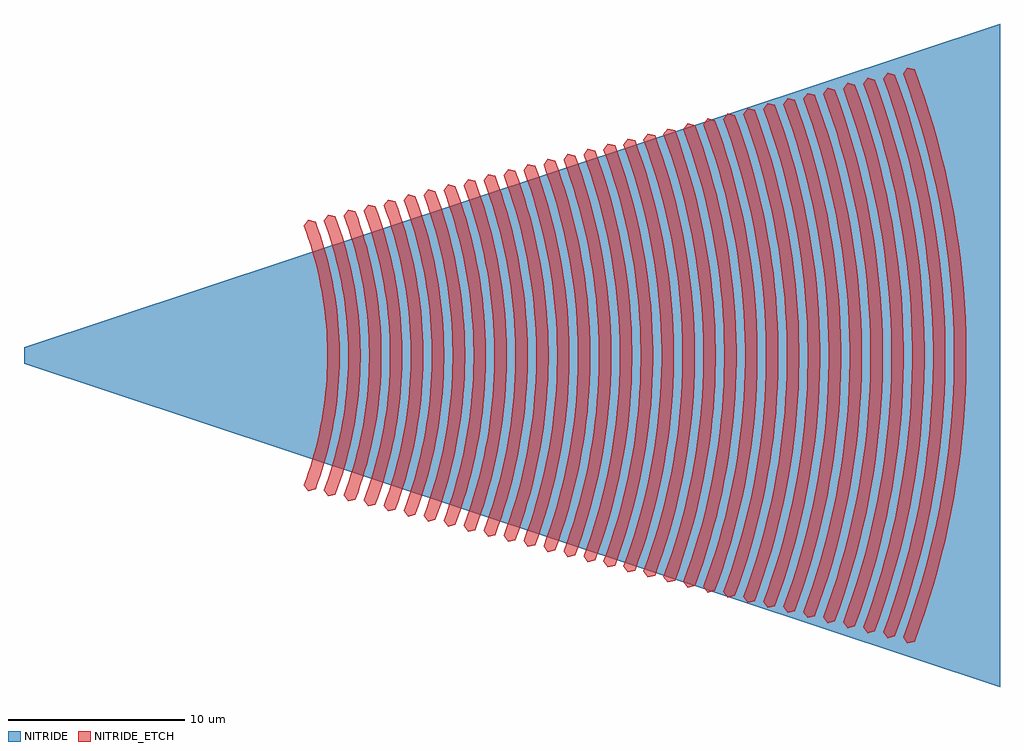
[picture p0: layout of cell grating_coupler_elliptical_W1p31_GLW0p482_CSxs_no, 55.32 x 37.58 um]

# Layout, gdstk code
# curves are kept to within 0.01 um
import gdstk
lib = gdstk.Library(unit=1e-6, precision=1e-09)
def P(c, l, *ps):  # polygons
    for p in ps: c.add(gdstk.Polygon(p, *l))
NITRIDE = (203, 0)
NITRIDE_ETCH = (204, 0)

grating_coupler_elliptic = lib.new_cell('grating_coupler_elliptical_W1p31_GLW0p482_CSxs_no')
P(grating_coupler_elliptic, NITRIDE, [(68.561,-18.792),(13.241,-0.475),(13.241,0.475),(68.561,18.792)])
P(grating_coupler_elliptic, NITRIDE_ETCH, [(29.354,-7.693),(29.104,-7.353),(29.362,-6.622),(29.696,-5.513),(29.884,-4.765),(30.045,-4.013),(30.179,-3.254),(30.327,-2.111),(30.39,-1.344),(30.432,-0.192),(30.411,0.96),(30.361,1.727),(30.235,2.874),(30.115,3.634),(29.969,4.389),(29.696,5.513),(29.362,6.622),(29.104,7.353),(29.354,7.693),(29.764,7.593),(30.15,6.462),(30.374,5.697),(30.568,4.925),(30.807,3.756),(30.982,2.576),(31.09,1.39),(31.134,0.198),(31.113,-0.992),(31.061,-1.785),(30.982,-2.576),(30.807,-3.756),(30.568,-4.925),(30.374,-5.697),(30.15,-6.462),(29.764,-7.593)],
  [(30.486,-7.98),(30.236,-7.641),(30.627,-6.499),(30.851,-5.729),(31.047,-4.953),(31.215,-4.169),(31.353,-3.382),(31.507,-2.193),(31.594,-0.998),(31.616,-0.2),(31.609,0.599),(31.543,1.795),(31.463,2.59),(31.287,3.776),(31.047,4.953),(30.851,5.729),(30.627,6.499),(30.236,7.641),(30.486,7.98),(30.896,7.879),(31.297,6.707),(31.529,5.913),(31.731,5.111),(31.979,3.898),(32.159,2.674),(32.272,1.441),(32.318,0.206),(32.296,-1.03),(32.205,-2.263),(32.047,-3.49),(31.903,-4.303),(31.731,-5.111),(31.529,-5.913),(31.297,-6.707),(30.896,-7.879)],
  [(31.619,-8.267),(31.369,-7.927),(31.646,-7.139),(32.006,-5.944),(32.209,-5.139),(32.383,-4.326),(32.527,-3.508),(32.686,-2.276),(32.755,-1.449),(32.8,-0.207),(32.777,1.036),(32.724,1.862),(32.587,3.099),(32.458,3.918),(32.3,4.732),(32.006,5.944),(31.646,7.139),(31.369,7.927),(31.619,8.267),(32.029,8.167),(32.312,7.359),(32.567,6.541),(32.893,5.297),(33.15,4.04),(33.338,2.771),(33.455,1.495),(33.502,0.213),(33.479,-1.068),(33.384,-2.346),(33.221,-3.618),(32.986,-4.88),(32.792,-5.714),(32.567,-6.541),(32.312,-7.359),(32.029,-8.167)],
  [(32.751,-8.555),(32.501,-8.216),(32.92,-6.988),(33.161,-6.16),(33.372,-5.324),(33.552,-4.483),(33.701,-3.637),(33.866,-2.358),(33.937,-1.501),(33.984,-0.215),(33.976,0.644),(33.905,1.93),(33.818,2.785),(33.63,4.06),(33.466,4.904),(33.161,6.16),(32.92,6.988),(32.501,8.216),(32.751,8.555),(33.161,8.454),(33.59,7.196),(33.839,6.344),(34.056,5.484),(34.322,4.182),(34.516,2.869),(34.637,1.547),(34.686,0.221),(34.662,-1.105),(34.564,-2.428),(34.395,-3.745),(34.152,-5.052),(33.951,-5.915),(33.718,-6.771),(33.454,-7.618),(33.161,-8.454)],
  [(33.883,-8.842),(33.633,-8.503),(34.067,-7.231),(34.316,-6.375),(34.632,-5.077),(34.802,-4.202),(34.94,-3.323),(35.046,-2.441),(35.119,-1.554),(35.168,-0.222),(35.16,0.666),(35.086,1.998),(34.94,3.323),(34.802,4.202),(34.632,5.077),(34.316,6.375),(34.067,7.231),(33.633,8.503),(33.883,8.842),(34.293,8.741),(34.596,7.877),(34.87,7.001),(35.218,5.671),(35.494,4.324),(35.694,2.966),(35.819,1.6),(35.87,0.228),(35.845,-1.143),(35.744,-2.511),(35.569,-3.872),(35.318,-5.223),(35.11,-6.116),(34.87,-7.001),(34.596,-7.877),(34.293,-8.741)],
  [(35.016,-9.13),(34.765,-8.791),(35.214,-7.477),(35.471,-6.591),(35.798,-5.248),(35.973,-4.344),(36.116,-3.436),(36.226,-2.523),(36.302,-1.607),(36.352,-0.23),(36.343,0.689),(36.268,2.065),(36.116,3.436),(35.973,4.344),(35.798,5.248),(35.471,6.591),(35.214,7.477),(34.765,8.791),(35.016,9.13),(35.425,9.029),(35.739,8.137),(36.021,7.231),(36.381,5.857),(36.665,4.466),(36.873,3.064),(37.002,1.651),(37.054,0.236),(37.028,-1.18),(36.924,-2.593),(36.743,-4),(36.484,-5.394),(36.269,-6.317),(36.021,-7.231),(35.739,-8.137),(35.425,-9.029)],
  [(36.148,-9.417),(35.897,-9.078),(36.215,-8.175),(36.627,-6.806),(36.964,-5.42),(37.145,-4.486),(37.292,-3.548),(37.406,-2.606),(37.484,-1.66),(37.536,-0.237),(37.527,0.711),(37.484,1.66),(37.406,2.606),(37.292,3.548),(37.058,4.954),(36.748,6.346),(36.36,7.721),(35.897,9.078),(36.148,9.417),(36.557,9.316),(36.881,8.395),(37.172,7.461),(37.544,6.043),(37.837,4.608),(38.05,3.161),(38.184,1.704),(38.238,0.243),(38.211,-1.218),(38.104,-2.676),(37.917,-4.126),(37.65,-5.566),(37.428,-6.518),(37.172,-7.461),(36.881,-8.395),(36.557,-9.316)],
  [(37.279,-9.704),(37.029,-9.364),(37.357,-8.434),(37.649,-7.495),(37.907,-6.547),(38.227,-5.111),(38.469,-3.661),(38.586,-2.688),(38.693,-1.223),(38.72,-0.245),(38.711,0.734),(38.666,1.712),(38.586,2.688),(38.469,3.661),(38.227,5.111),(37.907,6.547),(37.507,7.966),(37.029,9.364),(37.279,9.704),(37.689,9.604),(38.023,8.654),(38.323,7.691),(38.706,6.229),(39.008,4.75),(39.229,3.258),(39.366,1.758),(39.395,1.255),(39.422,0.251),(39.395,-1.255),(39.284,-2.758),(39.091,-4.255),(38.917,-5.245),(38.815,-5.738),(38.587,-6.719),(38.323,-7.691),(38.023,-8.654),(37.689,-9.604)],
  [(38.411,-9.992),(38.161,-9.652),(38.499,-8.693),(38.8,-7.725),(39.066,-6.748),(39.396,-5.268),(39.645,-3.773),(39.765,-2.771),(39.849,-1.764),(39.904,-0.252),(39.894,0.756),(39.849,1.764),(39.765,2.771),(39.645,3.773),(39.396,5.268),(39.066,6.748),(38.654,8.21),(38.161,9.652),(38.411,9.992),(38.821,9.892),(39.165,8.913),(39.474,7.921),(39.869,6.415),(40.18,4.893),(40.407,3.356),(40.549,1.81),(40.578,1.293),(40.606,0.258),(40.578,-1.293),(40.463,-2.841),(40.407,-3.356),(40.265,-4.382),(40.086,-5.402),(39.981,-5.909),(39.746,-6.92),(39.474,-7.921),(39.165,-8.913),(38.821,-9.892)],
  [(39.543,-10.279),(39.293,-9.939),(39.801,-8.455),(40.092,-7.453),(40.225,-6.949),(40.461,-5.934),(40.66,-4.913),(40.821,-3.885),(40.945,-2.853),(41.031,-1.817),(41.088,-0.26),(41.078,0.779),(41.031,1.817),(40.945,2.853),(40.821,3.885),(40.565,5.425),(40.225,6.949),(39.801,8.455),(39.293,9.939),(39.543,10.279),(39.953,10.179),(40.471,8.663),(40.77,7.637),(41.031,6.602),(41.255,5.559),(41.352,5.035),(41.585,3.453),(41.731,1.863),(41.761,1.33),(41.79,0.266),(41.761,-1.33),(41.643,-2.923),(41.585,-3.453),(41.439,-4.508),(41.255,-5.559),(41.147,-6.082),(40.905,-7.121),(40.625,-8.151),(40.307,-9.173),(39.953,-10.179)],
  [(40.675,-10.567),(40.425,-10.228),(40.783,-9.211),(40.947,-8.699),(41.384,-7.15),(41.627,-6.107),(41.919,-4.528),(42.066,-3.467),(42.174,-2.403),(42.242,-1.336),(42.272,-0.267),(42.262,0.801),(42.174,2.403),(42.066,3.467),(41.919,4.528),(41.627,6.107),(41.384,7.15),(40.947,8.699),(40.783,9.211),(40.425,10.228),(40.675,10.567),(41.085,10.466),(41.449,9.431),(41.776,8.381),(41.925,7.853),(42.194,6.789),(42.523,5.177),(42.764,3.551),(42.874,2.461),(42.913,1.914),(42.944,1.368),(42.974,0.273),(42.944,-1.368),(42.874,-2.461),(42.823,-3.006),(42.764,-3.551),(42.613,-4.636),(42.523,-5.177),(42.313,-6.253),(42.064,-7.322),(41.776,-8.381),(41.449,-9.431),(41.085,-10.466)],
  [(41.807,-10.854),(41.557,-10.514),(41.747,-9.991),(42.094,-8.944),(42.543,-7.351),(42.793,-6.278),(43.003,-5.197),(43.093,-4.654),(43.244,-3.564),(43.355,-2.47),(43.425,-1.374),(43.456,-0.275),(43.446,0.824),(43.396,1.923),(43.305,3.018),(43.174,4.11),(43.003,5.197),(42.902,5.738),(42.793,6.278),(42.543,7.351),(42.094,8.944),(41.747,9.991),(41.557,10.514),(41.807,10.854),(42.217,10.754),(42.591,9.69),(42.927,8.611),(43.223,7.523),(43.479,6.424),(43.695,5.319),(43.87,4.206),(43.942,3.648),(44.055,2.528),(44.096,1.967),(44.148,0.844),(44.158,0.281),(44.148,-0.844),(44.127,-1.406),(44.055,-2.528),(44.003,-3.088),(43.942,-3.648),(43.787,-4.764),(43.695,-5.319),(43.479,-6.424),(43.223,-7.523),(42.927,-8.611),(42.591,-9.69),(42.217,-10.754)],
  [(42.939,-11.141),(42.689,-10.801),(42.884,-10.266),(43.241,-9.188),(43.558,-8.1),(43.702,-7.552),(43.959,-6.45),(44.267,-4.781),(44.422,-3.662),(44.536,-2.538),(44.608,-1.411),(44.64,-0.283),(44.629,0.846),(44.578,1.975),(44.485,3.101),(44.35,4.223),(44.267,4.781),(43.959,6.45),(43.702,7.552),(43.558,8.1),(43.241,9.188),(42.884,10.266),(42.689,10.801),(42.939,11.141),(43.349,11.041),(43.733,9.948),(44.078,8.842),(44.382,7.724),(44.645,6.596),(44.866,5.461),(45.046,4.319),(45.12,3.746),(45.236,2.596),(45.278,2.019),(45.31,1.443),(45.342,0.289),(45.342,-0.289),(45.31,-1.443),(45.236,-2.596),(45.183,-3.171),(45.12,-3.746),(44.961,-4.891),(44.761,-6.029),(44.645,-6.596),(44.382,-7.724),(44.078,-8.842),(43.733,-9.948),(43.349,-11.041)],
  [(44.073,-11.429),(43.822,-11.09),(44.021,-10.539),(44.388,-9.433),(44.713,-8.316),(44.861,-7.753),(45.124,-6.622),(45.346,-5.481),(45.441,-4.909),(45.6,-3.759),(45.717,-2.606),(45.791,-1.449),(45.824,-0.29),(45.813,0.869),(45.76,2.028),(45.665,3.183),(45.526,4.335),(45.441,4.909),(45.346,5.481),(45.124,6.622),(44.861,7.753),(44.713,8.316),(44.388,9.433),(44.021,10.539),(43.822,11.09),(44.073,11.429),(44.482,11.328),(44.875,10.208),(45.229,9.072),(45.541,7.925),(45.81,6.768),(46.038,5.603),(46.222,4.431),(46.298,3.843),(46.417,2.664),(46.46,2.072),(46.493,1.481),(46.526,0.296),(46.515,-0.889),(46.493,-1.481),(46.417,-2.664),(46.363,-3.253),(46.298,-3.843),(46.135,-5.017),(45.93,-6.186),(45.81,-6.768),(45.541,-7.925),(45.229,-9.072),(44.875,-10.208),(44.482,-11.328)],
  [(45.205,-11.716),(44.954,-11.377),(45.352,-10.246),(45.534,-9.677),(45.706,-9.106),(46.02,-7.954),(46.29,-6.793),(46.41,-6.209),(46.615,-5.037),(46.778,-3.857),(46.898,-2.673),(46.975,-1.486),(47.008,-0.298),(46.997,0.892),(46.942,2.08),(46.844,3.266),(46.702,4.447),(46.615,5.037),(46.41,6.209),(46.29,6.793),(46.02,7.954),(45.706,9.106),(45.534,9.677),(45.352,10.246),(44.954,11.377),(45.205,11.716),(45.614,11.615),(46.018,10.466),(46.38,9.302),(46.7,8.126),(46.976,6.939),(47.21,5.745),(47.398,4.543),(47.476,3.941),(47.598,2.731),(47.642,2.126),(47.677,1.518),(47.71,0.304),(47.699,-0.912),(47.677,-1.518),(47.598,-2.731),(47.542,-3.336),(47.476,-3.941),(47.309,-5.145),(47.21,-5.745),(46.976,-6.939),(46.7,-8.126),(46.38,-9.302),(46.018,-10.466),(45.614,-11.615)],
  [(46.336,-12.004),(46.086,-11.665),(46.494,-10.505),(46.681,-9.922),(46.858,-9.336),(47.179,-8.155),(47.456,-6.964),(47.578,-6.366),(47.789,-5.163),(47.956,-3.954),(48.08,-2.741),(48.158,-1.524),(48.192,-0.305),(48.18,0.914),(48.125,2.133),(48.024,3.347),(47.879,4.56),(47.789,5.163),(47.578,6.366),(47.456,6.964),(47.179,8.155),(46.858,9.336),(46.681,9.922),(46.494,10.505),(46.086,11.665),(46.336,12.004),(46.746,11.903),(47.16,10.725),(47.532,9.532),(47.859,8.327),(48.142,7.112),(48.381,5.887),(48.575,4.656),(48.654,4.038),(48.78,2.799),(48.825,2.177),(48.86,1.556),(48.894,0.311),(48.894,-0.311),(48.86,-1.556),(48.78,-2.799),(48.722,-3.419),(48.575,-4.656),(48.483,-5.273),(48.268,-6.5),(48.142,-7.112),(47.859,-8.327),(47.532,-9.532),(47.16,-10.725),(46.746,-11.903)],
  [(47.468,-12.291),(47.218,-11.952),(47.433,-11.358),(47.828,-10.167),(48.009,-9.566),(48.338,-8.356),(48.622,-7.136),(48.861,-5.907),(48.963,-5.291),(49.135,-4.052),(49.261,-2.808),(49.341,-1.561),(49.376,-0.313),(49.364,0.937),(49.307,2.185),(49.204,3.431),(49.055,4.672),(48.963,5.291),(48.747,6.523),(48.622,7.136),(48.338,8.356),(48.009,9.566),(47.828,10.167),(47.433,11.358),(47.218,11.952),(47.468,12.291),(47.878,12.19),(48.302,10.985),(48.683,9.762),(49.018,8.528),(49.308,7.284),(49.553,6.029),(49.751,4.768),(49.833,4.136),(49.961,2.866),(50.007,2.231),(50.043,1.593),(50.078,0.319),(50.078,-0.319),(50.043,-1.593),(49.961,-2.866),(49.902,-3.501),(49.833,-4.136),(49.657,-5.399),(49.437,-6.657),(49.308,-7.284),(49.018,-8.528),(48.683,-9.762),(48.302,-10.985),(47.878,-12.19)],
  [(48.6,-12.579),(48.35,-12.24),(48.778,-11.023),(48.974,-10.411),(49.16,-9.796),(49.497,-8.557),(49.788,-7.308),(50.032,-6.05),(50.138,-5.418),(50.313,-4.149),(50.442,-2.876),(50.524,-1.599),(50.56,-0.32),(50.548,0.959),(50.489,2.237),(50.384,3.513),(50.313,4.149),(50.138,5.418),(50.032,6.05),(49.788,7.308),(49.497,8.557),(49.16,9.796),(48.974,10.411),(48.778,11.023),(48.35,12.24),(48.6,12.579),(49.01,12.478),(49.444,11.243),(49.834,9.992),(50.177,8.729),(50.474,7.454),(50.605,6.814),(50.832,5.526),(51.011,4.233),(51.142,2.934),(51.189,2.283),(51.226,1.631),(51.262,0.326),(51.25,-0.979),(51.226,-1.631),(51.142,-2.934),(51.082,-3.583),(51.011,-4.233),(50.832,-5.526),(50.605,-6.814),(50.474,-7.454),(50.177,-8.729),(49.834,-9.992),(49.444,-11.243),(49.01,-12.478)],
  [(49.732,-12.866),(49.482,-12.527),(49.92,-11.282),(50.121,-10.656),(50.311,-10.026),(50.656,-8.758),(50.954,-7.48),(51.204,-6.192),(51.312,-5.546),(51.491,-4.247),(51.623,-2.943),(51.707,-1.636),(51.743,-0.328),(51.731,0.982),(51.672,2.29),(51.564,3.596),(51.491,4.247),(51.312,5.546),(51.204,6.192),(50.954,7.48),(50.656,8.758),(50.311,10.026),(50.121,10.656),(49.92,11.282),(49.482,12.527),(49.732,12.866),(50.142,12.765),(50.586,11.502),(50.985,10.222),(51.336,8.93),(51.64,7.626),(51.896,6.314),(52.006,5.654),(52.189,4.331),(52.262,3.666),(52.372,2.336),(52.409,1.668),(52.445,0.334),(52.433,-1.002),(52.409,-1.668),(52.372,-2.336),(52.262,-3.666),(52.189,-4.331),(52.006,-5.654),(51.896,-6.314),(51.64,-7.626),(51.336,-8.93),(50.985,-10.222),(50.586,-11.502),(50.142,-12.765)],
  [(50.864,-13.153),(50.614,-12.814),(50.844,-12.178),(51.268,-10.9),(51.462,-10.256),(51.815,-8.959),(52.119,-7.652),(52.253,-6.994),(52.486,-5.672),(52.669,-4.344),(52.804,-3.011),(52.89,-1.674),(52.927,-0.335),(52.915,1.004),(52.854,2.342),(52.744,3.679),(52.584,5.009),(52.486,5.672),(52.253,6.994),(52.119,7.652),(51.815,8.959),(51.462,10.256),(51.268,10.9),(51.062,11.54),(50.614,12.814),(50.864,13.153),(51.274,13.052),(51.728,11.762),(52.136,10.452),(52.495,9.131),(52.805,7.798),(52.943,7.128),(53.18,5.782),(53.367,4.428),(53.442,3.749),(53.554,2.388),(53.617,1.024),(53.629,0.341),(53.617,-1.024),(53.592,-1.706),(53.554,-2.388),(53.442,-3.749),(53.28,-5.105),(53.18,-5.782),(52.943,-7.128),(52.657,-8.466),(52.322,-9.793),(51.938,-11.108),(51.506,-12.41),(51.274,-13.052)],
  [(51.996,-13.441),(51.746,-13.101),(51.982,-12.451),(52.415,-11.145),(52.613,-10.486),(52.974,-9.16),(53.285,-7.822),(53.422,-7.151),(53.66,-5.799),(53.847,-4.442),(53.986,-3.078),(54.073,-1.712),(54.111,-0.343),(54.099,1.027),(54.036,2.396),(53.986,3.078),(53.847,4.442),(53.66,5.799),(53.422,7.151),(53.285,7.822),(52.974,9.16),(52.613,10.486),(52.415,11.145),(51.982,12.451),(51.746,13.101),(51.996,13.441),(52.406,13.341),(52.644,12.683),(53.085,11.353),(53.477,10.009),(53.819,8.652),(53.971,7.97),(54.112,7.285),(54.354,5.909),(54.545,4.526),(54.686,3.136),(54.736,2.44),(54.801,1.047),(54.813,0.349),(54.801,-1.047),(54.775,-1.744),(54.686,-3.136),(54.545,-4.526),(54.456,-5.218),(54.354,-5.909),(54.112,-7.285),(53.819,-8.652),(53.477,-10.009),(53.085,-11.353),(52.644,-12.683),(52.406,-13.341)],
  [(53.128,-13.728),(52.878,-13.388),(53.119,-12.724),(53.561,-11.389),(53.764,-10.716),(54.133,-9.361),(54.451,-7.995),(54.719,-6.618),(54.834,-5.927),(55.026,-4.539),(55.167,-3.146),(55.257,-1.749),(55.295,-0.35),(55.282,1.05),(55.219,2.447),(55.103,3.844),(55.026,4.539),(54.834,5.927),(54.719,6.618),(54.451,7.995),(54.133,9.361),(53.764,10.716),(53.561,11.389),(53.119,12.724),(52.878,13.388),(53.128,13.728),(53.538,13.628),(53.781,12.956),(54.231,11.597),(54.632,10.224),(54.982,8.839),(55.137,8.141),(55.411,6.74),(55.528,6.035),(55.724,4.623),(55.867,3.204),(55.919,2.493),(55.959,1.781),(55.997,0.356),(55.997,-0.356),(55.959,-1.781),(55.867,-3.204),(55.724,-4.623),(55.632,-5.33),(55.411,-6.74),(55.281,-7.442),(54.982,-8.839),(54.632,-10.224),(54.231,-11.597),(53.781,-12.956),(53.538,-13.628)],
  [(54.26,-14.016),(54.01,-13.676),(54.256,-12.998),(54.708,-11.634),(54.915,-10.946),(55.292,-9.562),(55.617,-8.165),(55.76,-7.464),(56.008,-6.055),(56.204,-4.636),(56.348,-3.214),(56.44,-1.787),(56.479,-0.358),(56.466,1.073),(56.401,2.5),(56.283,3.926),(56.204,4.636),(56.008,6.055),(55.76,7.464),(55.617,8.165),(55.292,9.562),(54.915,10.946),(54.708,11.634),(54.256,12.998),(54.01,13.676),(54.26,14.016),(54.67,13.916),(54.918,13.23),(55.378,11.842),(55.787,10.44),(55.972,9.734),(56.303,8.313),(56.45,7.598),(56.702,6.163),(56.902,4.72),(57.048,3.272),(57.101,2.546),(57.142,1.819),(57.181,0.364),(57.181,-0.364),(57.142,-1.819),(57.048,-3.272),(56.902,-4.72),(56.808,-5.442),(56.702,-6.163),(56.45,-7.598),(56.144,-9.025),(55.787,-10.44),(55.378,-11.842),(54.918,-13.23),(54.67,-13.916)],
  [(55.392,-14.303),(55.142,-13.964),(55.631,-12.576),(55.855,-11.878),(56.265,-10.471),(56.451,-9.763),(56.783,-8.338),(57.062,-6.902),(57.182,-6.181),(57.382,-4.734),(57.529,-3.281),(57.623,-1.824),(57.663,-0.365),(57.65,1.094),(57.583,2.553),(57.463,4.009),(57.289,5.459),(57.182,6.181),(57.062,6.902),(56.783,8.338),(56.451,9.763),(56.265,10.471),(55.855,11.878),(55.631,12.576),(55.142,13.964),(55.392,14.303),(55.802,14.202),(56.055,13.504),(56.525,12.086),(56.943,10.655),(57.307,9.211),(57.469,8.484),(57.754,7.024),(57.985,5.555),(58.08,4.818),(58.229,3.339),(58.283,2.599),(58.325,1.856),(58.365,0.371),(58.352,-1.114),(58.325,-1.856),(58.229,-3.339),(58.161,-4.079),(57.985,-5.555),(57.754,-7.024),(57.618,-7.755),(57.307,-9.211),(56.943,-10.655),(56.525,-12.086),(56.297,-12.796),(55.802,-14.202)],
  [(56.525,-14.59),(56.275,-14.251),(56.531,-13.544),(57.002,-12.123),(57.42,-10.687),(57.61,-9.964),(57.949,-8.51),(58.233,-7.044),(58.356,-6.308),(58.56,-4.831),(58.711,-3.349),(58.806,-1.862),(58.847,-0.373),(58.833,1.117),(58.766,2.606),(58.643,4.09),(58.465,5.571),(58.356,6.308),(58.233,7.044),(57.949,8.51),(57.61,9.964),(57.42,10.687),(57.002,12.123),(56.531,13.544),(56.275,14.251),(56.525,14.59),(56.935,14.489),(57.193,13.776),(57.672,12.331),(58.098,10.871),(58.469,9.398),(58.635,8.656),(58.787,7.912),(59.05,6.418),(59.258,4.915),(59.411,3.407),(59.466,2.65),(59.508,1.894),(59.549,0.379),(59.549,-0.379),(59.508,-1.894),(59.411,-3.407),(59.258,-4.915),(59.161,-5.667),(59.05,-6.418),(58.787,-7.912),(58.469,-9.398),(58.098,-10.871),(57.672,-12.331),(57.439,-13.055),(56.935,-14.489)],
  [(57.657,-14.878),(57.407,-14.539),(57.915,-13.094),(58.148,-12.367),(58.368,-11.637),(58.769,-10.165),(59.114,-8.681),(59.405,-7.186),(59.53,-6.436),(59.738,-4.929),(59.892,-3.416),(59.989,-1.899),(60.031,-0.38),(60.017,1.139),(59.948,2.659),(59.823,4.174),(59.641,5.684),(59.53,6.436),(59.405,7.186),(59.114,8.681),(58.769,10.165),(58.368,11.637),(58.148,12.367),(57.915,13.094),(57.407,14.539),(57.657,14.878),(58.067,14.777),(58.33,14.049),(58.818,12.575),(59.253,11.086),(59.632,9.583),(59.8,8.827),(59.956,8.069),(60.224,6.544),(60.337,5.78),(60.521,4.244),(60.592,3.474),(60.691,1.931),(60.733,0.386),(60.719,-1.159),(60.691,-1.931),(60.592,-3.474),(60.436,-5.013),(60.337,-5.78),(60.097,-7.308),(59.956,-8.069),(59.632,-9.583),(59.253,-11.086),(59.042,-11.833),(58.581,-13.314),(58.067,-14.777)],
  [(58.789,-15.165),(58.539,-14.826),(59.057,-13.353),(59.295,-12.612),(59.519,-11.867),(59.928,-10.366),(60.28,-8.852),(60.577,-7.329),(60.704,-6.564),(60.916,-5.026),(61.073,-3.484),(61.172,-1.937),(61.215,-0.388),(61.201,1.162),(61.13,2.711),(61.002,4.256),(60.817,5.796),(60.704,6.564),(60.577,7.329),(60.28,8.852),(59.928,10.366),(59.519,11.867),(59.295,12.612),(59.057,13.353),(58.539,14.826),(58.789,15.165),(59.199,15.064),(59.467,14.322),(59.965,12.82),(60.408,11.302),(60.608,10.538),(60.966,9),(61.269,7.451),(61.513,5.892),(61.614,5.11),(61.773,3.542),(61.83,2.755),(61.874,1.969),(61.917,0.394),(61.903,-1.182),(61.874,-1.969),(61.773,-3.542),(61.614,-5.11),(61.513,-5.892),(61.269,-7.451),(61.125,-8.226),(60.794,-9.77),(60.408,-11.302),(59.965,-12.82),(59.723,-13.573),(59.199,-15.064)],
  [(59.922,-15.453),(59.671,-15.114),(60.199,-13.612),(60.442,-12.856),(60.671,-12.097),(61.087,-10.567),(61.446,-9.025),(61.748,-7.471),(61.878,-6.69),(62.095,-5.124),(62.254,-3.551),(62.355,-1.974),(62.399,-0.395),(62.385,1.185),(62.313,2.764),(62.182,4.339),(61.994,5.908),(61.878,6.69),(61.748,7.471),(61.446,9.025),(61.087,10.567),(60.671,12.097),(60.442,12.856),(60.199,13.612),(59.671,15.114),(59.922,15.453),(60.331,15.352),(60.604,14.596),(60.865,13.832),(61.345,12.293),(61.767,10.739),(62.132,9.171),(62.44,7.593),(62.69,6.004),(62.793,5.208),(62.954,3.609),(63.013,2.808),(63.087,1.205),(63.101,0.401),(63.087,-1.205),(63.013,-2.808),(62.954,-3.609),(62.793,-5.208),(62.69,-6.004),(62.572,-6.8),(62.294,-8.383),(61.957,-9.957),(61.563,-11.518),(61.345,-12.293),(60.865,-13.832),(60.331,-15.352)],
  [(61.053,-15.74),(60.803,-15.4),(61.08,-14.637),(61.589,-13.101),(61.822,-12.327),(62.246,-10.768),(62.612,-9.196),(62.92,-7.613),(63.052,-6.818),(63.273,-5.221),(63.435,-3.619),(63.538,-2.012),(63.583,-0.403),(63.568,1.207),(63.495,2.816),(63.362,4.421),(63.17,6.021),(63.052,6.818),(62.92,7.613),(62.612,9.196),(62.246,10.768),(61.822,12.327),(61.589,13.101),(61.08,14.637),(60.803,15.4),(61.053,15.74),(61.463,15.64),(61.742,14.869),(62.259,13.309),(62.496,12.523),(62.926,10.94),(63.298,9.342),(63.612,7.735),(63.866,6.117),(63.971,5.305),(64.135,3.677),(64.195,2.86),(64.24,2.044),(64.285,0.409),(64.27,-1.227),(64.24,-2.044),(64.135,-3.677),(63.971,-5.305),(63.866,-6.117),(63.612,-7.735),(63.463,-8.54),(63.12,-10.143),(62.926,-10.94),(62.496,-12.523),(62.007,-14.091),(61.463,-15.64)],
  [(62.185,-16.027),(61.935,-15.687),(62.217,-14.91),(62.735,-13.346),(62.973,-12.557),(63.405,-10.969),(63.778,-9.367),(63.942,-8.563),(64.226,-6.945),(64.451,-5.319),(64.617,-3.686),(64.722,-2.05),(64.767,-0.41),(64.767,0.41),(64.722,2.05),(64.617,3.686),(64.451,5.319),(64.226,6.945),(63.942,8.563),(63.778,9.367),(63.405,10.969),(62.973,12.557),(62.735,13.346),(62.217,14.91),(61.935,15.687),(62.185,16.027),(62.595,15.927),(62.879,15.142),(63.405,13.554),(63.874,11.949),(64.282,10.329),(64.464,9.515),(64.632,8.697),(64.92,7.055),(65.149,5.403),(65.317,3.744),(65.377,2.914),(65.424,2.082),(65.469,0.416),(65.454,-1.25),(65.424,-2.082),(65.317,-3.744),(65.149,-5.403),(65.042,-6.229),(64.92,-7.055),(64.632,-8.697),(64.282,-10.329),(63.874,-11.949),(63.647,-12.753),(63.149,-14.35),(62.595,-15.927)],
  [(63.317,-16.315),(63.067,-15.976),(63.354,-15.183),(63.882,-13.59),(64.124,-12.787),(64.564,-11.17),(64.944,-9.54),(65.263,-7.897),(65.4,-7.073),(65.629,-5.416),(65.798,-3.754),(65.905,-2.087),(65.951,-0.418),(65.936,1.252),(65.905,2.087),(65.798,3.754),(65.629,5.416),(65.4,7.073),(65.263,7.897),(64.944,9.54),(64.564,11.17),(64.124,12.787),(63.882,13.59),(63.354,15.183),(63.067,15.976),(63.317,16.315),(63.727,16.214),(64.016,15.415),(64.552,13.798),(65.029,12.164),(65.445,10.516),(65.63,9.686),(65.955,8.019),(66.094,7.181),(66.327,5.5),(66.498,3.812),(66.559,2.967),(66.607,2.119),(66.653,0.424),(66.638,-1.272),(66.607,-2.119),(66.498,-3.812),(66.327,-5.5),(66.218,-6.341),(65.955,-8.019),(65.8,-8.854),(65.445,-10.516),(65.029,-12.164),(64.798,-12.983),(64.291,-14.609),(63.727,-16.214)])

lib.write_gds('grating_coupler_elliptical_W1p31_GLW0p482_CSxs_no.gds')
